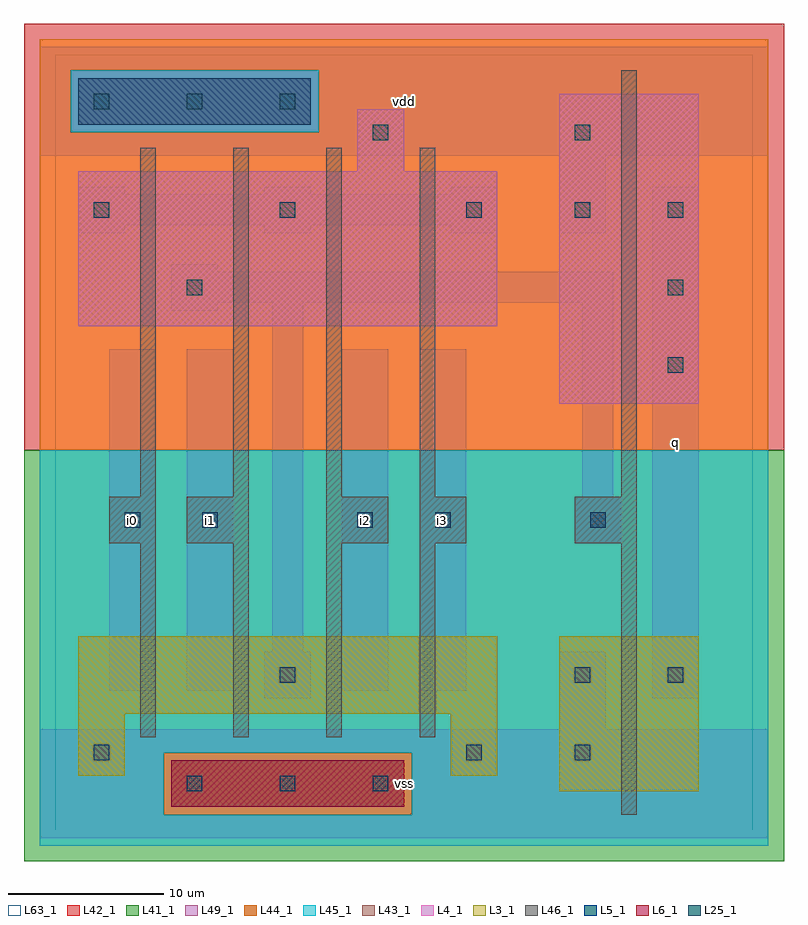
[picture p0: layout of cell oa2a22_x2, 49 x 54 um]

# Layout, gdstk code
import gdstk
lib = gdstk.Library(unit=1e-6, precision=1e-09)
def R(c, l, rs):  # rectangles x0, y0, x1, y1
    for r in rs: c.add(gdstk.rectangle(r[:2], r[2:], *l))
def A(c, l, x, y, w, h, nx, ny, dx, dy):  # array of equal rectangles
    R(c, l, [(x+i*dx, y+j*dy, x+i*dx+w, y+j*dy+h) for i in range(nx) for j in range(ny)])
L3_1 = (3, 1)
L4_1 = (4, 1)
L5_1 = (5, 1)
L6_1 = (6, 1)
L25_1 = (25, 1)
L41_1 = (41, 1)
L42_1 = (42, 1)
L43_1 = (43, 1)
L44_1 = (44, 1)
L45_1 = (45, 1)
L46_1 = (46, 1)
L49_1 = (49, 1)
L63_1 = (63, 1)

oa2a22_x2 = lib.new_cell('oa2a22_x2')
R(oa2a22_x2, L3_1, [(32.5,2.5,41.5,12.5), (1.5,3.5,4.5,7.5), (25.5,3.5,28.5,7.5), (1.5,7.5,28.5,12.5)])
R(oa2a22_x2, L4_1, [(32.5,27.5,41.5,47.5), (1.5,32.5,28.5,42.5), (19.5,42.5,22.5,46.5)])
R(oa2a22_x2, L5_1, [(1.5,45.5,16.5,48.5)])
R(oa2a22_x2, L6_1, [(7.5,1.5,22.5,4.5)])
A(oa2a22_x2, L25_1, 8.5, 2.5, 1, 1, 3, 1, 6, 0)
A(oa2a22_x2, L25_1, 39.5, 29.5, 1, 1, 1, 3, 0, 5)
A(oa2a22_x2, L25_1, 2.5, 39.5, 1, 1, 3, 1, 12, 0)
A(oa2a22_x2, L25_1, 2.5, 46.5, 1, 1, 3, 1, 6, 0)
R(oa2a22_x2, L25_1, [(2.5,4.5,3.5,5.5), (26.5,4.5,27.5,5.5), (33.5,4.5,34.5,5.5), (14.5,9.5,15.5,10.5), (33.5,9.5,34.5,10.5), (39.5,9.5,40.5,10.5), (4.5,19.5,5.5,20.5), (9.5,19.5,10.5,20.5), (19.5,19.5,20.5,20.5), (24.5,19.5,25.5,20.5), (34.5,19.5,35.5,20.5), (8.5,34.5,9.5,35.5), (33.5,39.5,34.5,40.5), (20.5,44.5,21.5,45.5), (33.5,44.5,34.5,45.5)])
R(oa2a22_x2, L41_1, [(-2,-2,47,24.5)])
R(oa2a22_x2, L42_1, [(-2,24.5,47,52)])
R(oa2a22_x2, L43_1, [(7.5,1.5,22.5,4.5), (32.5,2.5,41.5,12.5), (1.5,3.5,4.5,7.5), (25.5,3.5,28.5,7.5), (1.5,7.5,28.5,12.5), (32.5,27.5,41.5,47.5), (1.5,32.5,28.5,42.5), (19.5,42.5,22.5,46.5), (1.5,45.5,16.5,48.5)])
R(oa2a22_x2, L44_1, [(7,1,23,5), (-1,24.5,46,45), (-1,45,1,49), (17,45,46,49), (-1,49,46,51)])
R(oa2a22_x2, L45_1, [(-1,-1,46,1), (-1,1,7,5), (23,1,46,5), (-1,5,46,24.5), (1,45,17,49)])
A(oa2a22_x2, L46_1, 5.5, 6, 1, 12.5, 4, 1, 6, 0)
A(oa2a22_x2, L46_1, 5.5, 21.5, 1, 22.5, 4, 1, 6, 0)
R(oa2a22_x2, L46_1, [(36.5,1,37.5,18.5), (3.5,18.5,6.5,21.5), (8.5,18.5,12.5,21.5), (17.5,18.5,21.5,21.5), (23.5,18.5,26.5,21.5), (33.5,18.5,37.5,21.5), (36.5,21.5,37.5,49)])
A(oa2a22_x2, L49_1, 1.5, 38.5, 3, 0.5, 3, 2, 12, 2.5)
R(oa2a22_x2, L49_1, [(-1,-0.5,46,6.5), (32.5,6.5,35.5,11.5), (13.5,8.5,16.5,11.5), (38.5,8.5,41.5,41.5), (3.5,9,6.5,31), (8.5,9,11.5,31), (18.5,9,21.5,31), (23.5,9,26.5,31), (14,11.5,16,34), (33.5,18.5,36.5,21.5), (34,21.5,36,34), (7.5,33.5,10.5,34), (7.5,34,36,36), (7.5,36,10.5,36.5), (32.5,38.5,35.5,43.5), (1.5,39,28.5,41), (-1,43.5,46,50.5)])
R(oa2a22_x2, L63_1, [(0,0,45,50)])
oa2a22_x2.add(gdstk.Label('i0', (5,20), layer=49, texttype=1))
oa2a22_x2.add(gdstk.Label('i0', (5,20), layer=49, texttype=1))
oa2a22_x2.add(gdstk.Label('i1', (10,20), layer=49, texttype=1))
oa2a22_x2.add(gdstk.Label('i1', (10,20), layer=49, texttype=1))
oa2a22_x2.add(gdstk.Label('i2', (20,20), layer=49, texttype=1))
oa2a22_x2.add(gdstk.Label('i2', (20,20), layer=49, texttype=1))
oa2a22_x2.add(gdstk.Label('vss', (22.5,3), layer=49, texttype=1))
oa2a22_x2.add(gdstk.Label('vss', (22.5,3), layer=49, texttype=1))
oa2a22_x2.add(gdstk.Label('i3', (25,20), layer=49, texttype=1))
oa2a22_x2.add(gdstk.Label('i3', (25,20), layer=49, texttype=1))
oa2a22_x2.add(gdstk.Label('vdd', (22.5,47), layer=49, texttype=1))
oa2a22_x2.add(gdstk.Label('vdd', (22.5,47), layer=49, texttype=1))
oa2a22_x2.add(gdstk.Label('q', (40,25), layer=49, texttype=1))
oa2a22_x2.add(gdstk.Label('q', (40,25), layer=49, texttype=1))

lib.write_gds('oa2a22_x2.gds')
